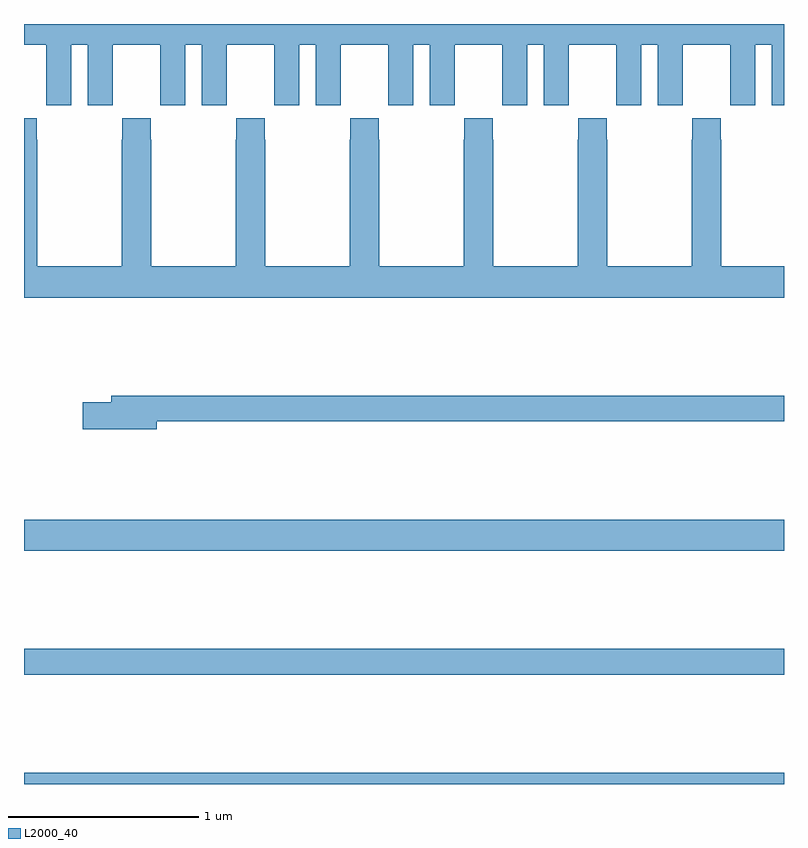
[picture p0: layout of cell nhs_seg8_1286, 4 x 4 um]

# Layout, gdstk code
import gdstk
lib = gdstk.Library(unit=1e-6, precision=1e-09)
def R(c, l, rs):  # rectangles x0, y0, x1, y1
    for r in rs: c.add(gdstk.rectangle(r[:2], r[2:], *l))
def P(c, l, *ps):  # polygons
    for p in ps: c.add(gdstk.Polygon(p, *l))
L2000_40 = (2000, 40)

nhs_seg8_1286 = lib.new_cell('nhs_seg8_1286')
R(nhs_seg8_1286, L2000_40, [(191,1153.9,195,1153.96), (191,1154.476,195,1154.612), (191,1155.128,195,1155.292)])
P(nhs_seg8_1286, L2000_40, [(191.248,1157.792),(191.336,1157.792),(191.336,1157.472),(191.466,1157.472),(191.466,1157.584),(191.467,1157.584),(191.467,1157.792),(191.717,1157.792),(191.717,1157.584),(191.718,1157.584),(191.718,1157.472),(191.848,1157.472),(191.848,1157.792),(191.936,1157.792),(191.936,1157.472),(192.066,1157.472),(192.066,1157.584),(192.067,1157.584),(192.067,1157.792),(192.317,1157.792),(192.317,1157.584),(192.318,1157.584),(192.318,1157.472),(192.448,1157.472),(192.448,1157.792),(192.536,1157.792),(192.536,1157.472),(192.666,1157.472),(192.666,1157.584),(192.667,1157.584),(192.667,1157.792),(192.917,1157.792),(192.917,1157.584),(192.918,1157.584),(192.918,1157.472),(193.048,1157.472),(193.048,1157.792),(193.136,1157.792),(193.136,1157.472),(193.266,1157.472),(193.266,1157.584),(193.267,1157.584),(193.267,1157.792),(193.517,1157.792),(193.517,1157.584),(193.518,1157.584),(193.518,1157.472),(193.648,1157.472),(193.648,1157.792),(193.736,1157.792),(193.736,1157.472),(193.866,1157.472),(193.866,1157.584),(193.867,1157.584),(193.867,1157.792),(194.117,1157.792),(194.117,1157.584),(194.118,1157.584),(194.118,1157.472),(194.248,1157.472),(194.248,1157.792),(194.336,1157.792),(194.336,1157.472),(194.466,1157.472),(194.466,1157.584),(194.467,1157.584),(194.467,1157.792),(194.717,1157.792),(194.717,1157.584),(194.718,1157.584),(194.718,1157.472),(194.848,1157.472),(194.848,1157.792),(194.936,1157.792),(194.936,1157.472),(195,1157.472),(195,1157.9),(191,1157.9),(191,1157.792),(191.117,1157.792),(191.117,1157.584),(191.118,1157.584),(191.118,1157.472),(191.248,1157.472)],
  [(195,1156.624),(194.67,1156.624),(194.67,1157.291),(194.667,1157.291),(194.667,1157.404),(194.517,1157.404),(194.517,1157.291),(194.515,1157.291),(194.515,1156.624),(194.07,1156.624),(194.07,1157.291),(194.067,1157.291),(194.067,1157.404),(193.917,1157.404),(193.917,1157.291),(193.915,1157.291),(193.915,1156.624),(193.47,1156.624),(193.47,1157.291),(193.467,1157.291),(193.467,1157.404),(193.317,1157.404),(193.317,1157.291),(193.315,1157.291),(193.315,1156.624),(192.87,1156.624),(192.87,1157.291),(192.867,1157.291),(192.867,1157.404),(192.717,1157.404),(192.717,1157.291),(192.715,1157.291),(192.715,1156.624),(192.27,1156.624),(192.27,1157.291),(192.267,1157.291),(192.267,1157.404),(192.117,1157.404),(192.117,1157.291),(192.115,1157.291),(192.115,1156.624),(191.67,1156.624),(191.67,1157.291),(191.667,1157.291),(191.667,1157.404),(191.517,1157.404),(191.517,1157.291),(191.515,1157.291),(191.515,1156.624),(191.07,1156.624),(191.07,1157.291),(191.067,1157.291),(191.067,1157.404),(191,1157.404),(191,1156.46),(195,1156.46)],
  [(191.698,1155.808),(195,1155.808),(195,1155.944),(191.459,1155.944),(191.459,1155.908),(191.31,1155.908),(191.31,1155.766),(191.698,1155.766)])

lib.write_gds('nhs_seg8_1286.gds')
